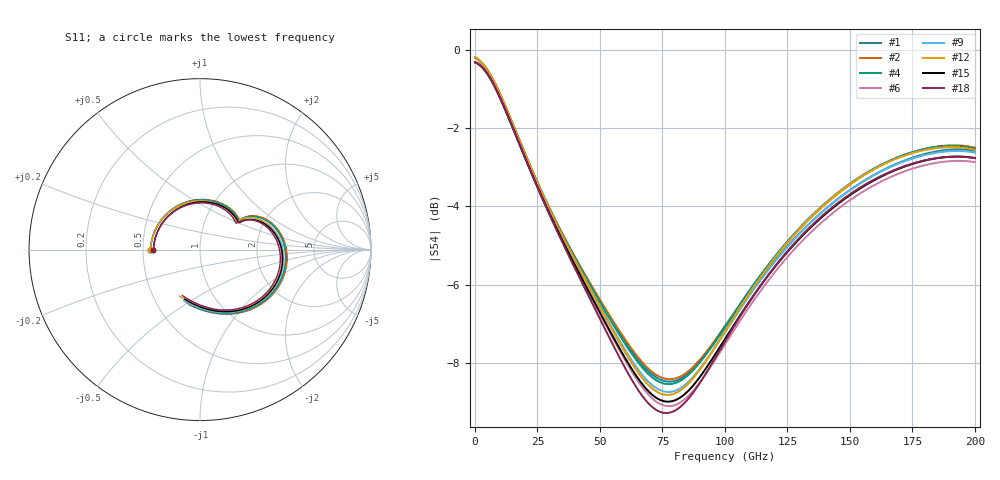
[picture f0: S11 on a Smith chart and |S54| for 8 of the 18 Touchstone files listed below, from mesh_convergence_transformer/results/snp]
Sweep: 10 MHz to 200 GHz
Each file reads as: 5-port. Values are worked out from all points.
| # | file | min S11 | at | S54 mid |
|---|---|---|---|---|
| 1 | transformer_amr3_final.s5p | -10.9 dB | 6 GHz | -7.1 dB at 100 GHz |
| 2 | transformer_amr3_final_raw.s5p | -10.9 dB | 5 GHz | -7.1 dB at 100 GHz |
| 3 | transformer_amr3_iter1.s5p | -11.1 dB | 57 GHz | -7.2 dB at 100 GHz |
| 4 | transformer_amr3_iter2.s5p | -10.9 dB | 57 GHz | -7.1 dB at 100 GHz |
| 5 | transformer_auto_mesh2.s5p | -11.2 dB | 57 GHz | -7.3 dB at 100 GHz |
| 6 | transformer_filled_mesh2.s5p | -11.4 dB | 5 GHz | -7.5 dB at 100 GHz |
| 7 | transformer_mesh1um.s5p | -11.0 dB | 57 GHz | -7.2 dB at 100 GHz |
| 8 | transformer_mesh1um_raw.s5p | -10.9 dB | 57 GHz | -7.1 dB at 100 GHz |
| 9 | transformer_mesh2um.s5p | -11.2 dB | 57 GHz | -7.2 dB at 100 GHz |
| 10 | transformer_mesh2um_raw.s5p | -11.1 dB | 57 GHz | -7.2 dB at 100 GHz |
| 11 | transformer_mesh3um.s5p | -11.5 dB | 57 GHz | -7.2 dB at 100 GHz |
| 12 | transformer_mesh3um_raw.s5p | -11.4 dB | 57 GHz | -7.2 dB at 100 GHz |
| 13 | transformer_mesh4um.s5p | -11.6 dB | 56 GHz | -7.3 dB at 100 GHz |
| 14 | transformer_mesh4um_raw.s5p | -11.5 dB | 57 GHz | -7.2 dB at 100 GHz |
| 15 | transformer_skin50_mesh2.s5p | -11.4 dB | 5 GHz | -7.4 dB at 100 GHz |
| 16 | transformer_skin_mesh1.s5p | -11.4 dB | 4 GHz | -7.4 dB at 100 GHz |
| 17 | transformer_skin_mesh2.s5p | -11.4 dB | 5 GHz | -7.4 dB at 100 GHz |
| 18 | transformer_skin_mesh4.s5p | -11.7 dB | 56 GHz | -7.5 dB at 100 GHz |
